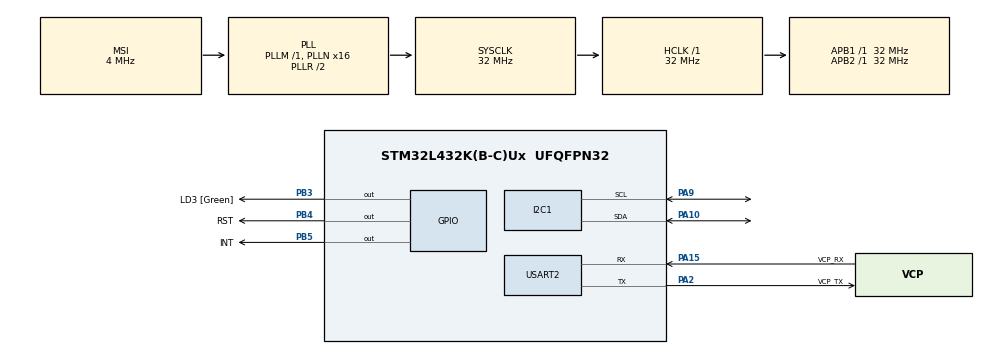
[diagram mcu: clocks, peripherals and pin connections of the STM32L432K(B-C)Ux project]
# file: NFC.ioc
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I2C1.Timing=0x00707CBB
Mcu.Family=STM32L4
Mcu.Name=STM32L432K(B-C)Ux
Mcu.Package=UFQFPN32
NVIC.PriorityGroup=NVIC_PRIORITYGROUP_4
PA0.GPIO_Label=MCO [High speed clock in]
PA0.Mode=HSE-External-Clock-Source-for-LittleOrca
PA0.Signal=RCC_CK_IN
PA10.Mode=I2C
PA10.Signal=I2C1_SDA
PA13\ (JTMS-SWDIO).GPIO_Label=SWDIO
PA13\ (JTMS-SWDIO).Mode=Serial_Wire
PA13\ (JTMS-SWDIO).Signal=SYS_JTMS-SWDIO
PA14\ (JTCK-SWCLK).GPIO_Label=SWCLK
PA14\ (JTCK-SWCLK).Mode=Serial_Wire
PA14\ (JTCK-SWCLK).Signal=SYS_JTCK-SWCLK
PA15\ (JTDI).GPIO_Label=VCP_RX
PA15\ (JTDI).Mode=Asynchronous
PA15\ (JTDI).Signal=USART2_RX
PA2.GPIO_Label=VCP_TX
PA2.Mode=Asynchronous
PA2.Signal=USART2_TX
PA9.Mode=I2C
PA9.Signal=I2C1_SCL
PB3\ (JTDO-TRACESWO).GPIO_Label=LD3 [Green]
PB3\ (JTDO-TRACESWO).Signal=GPIO_Output
PB4\ (NJTRST).GPIO_Label=RST
PB4\ (NJTRST).Signal=GPIO_Output
PB5.GPIO_Label=INT
PB5.Signal=GPIO_Output
PC14-OSC32_IN\ (PC14).Mode=LSE-External-Oscillator
PC14-OSC32_IN\ (PC14).Signal=RCC_OSC32_IN
PC15-OSC32_OUT\ (PC15).Mode=LSE-External-Oscillator
PC15-OSC32_OUT\ (PC15).Signal=RCC_OSC32_OUT
ProjectManager.HeapSize=0x200
ProjectManager.StackSize=0x400
ProjectManager.TargetToolchain=STM32CubeIDE
RCC.AHBFreq_Value=32000000
RCC.APB1Freq_Value=32000000
RCC.APB1TimFreq_Value=32000000
RCC.APB2Freq_Value=32000000
RCC.APB2TimFreq_Value=32000000
RCC.CortexFreq_Value=32000000
RCC.HCLKFreq_Value=32000000
RCC.HSE_VALUE=8000000
RCC.HSI16_VALUE=16000000
RCC.HSI48_VALUE=48000000
RCC.HSI_VALUE=16000000
RCC.MSI_VALUE=4000000
RCC.PLLMUL=RCC_PLLMUL_4
RCC.PLLN=16
RCC.SYSCLKFreq_VALUE=32000000
RCC.SYSCLKSource=RCC_SYSCLKSOURCE_PLLCLK
RCC.VCOOutputFreq_Value=64000000
USART2.VirtualMode-Asynchronous=VM_ASYNC
board=NUCLEO-L432KC

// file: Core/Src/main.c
/* USER CODE BEGIN Header */
/**
  ******************************************************************************
  * @file           : main.c
  * @brief          : Main program body
  ******************************************************************************
  * @attention
  *
  * Copyright (c) 2023 STMicroelectronics.
  * All rights reserved.
  *
  * This software is licensed under terms that can be found in the LICENSE file
  * in the root directory of this software component.
  * If no LICENSE file comes with this software, it is provided AS-IS.
  *
  ******************************************************************************
  */
/* USER CODE END Header */
#include "main.h"

I2C_HandleTypeDef hi2c1;

UART_HandleTypeDef huart2;

void SystemClock_Config(void);
static void MX_GPIO_Init(void);
static void MX_USART2_UART_Init(void);
static void MX_I2C1_Init(void);

int main(void)
{

  /* MCU Configuration--------------------------------------------------------*/

  /* Reset of all peripherals, Initializes the Flash interface and the Systick. */
HAL_Init();

  /* Configure the system clock */
  SystemClock_Config();

  /* Initialize all configured peripherals */
  MX_GPIO_Init();
  MX_USART2_UART_Init();
  MX_I2C1_Init();

  /* Infinite loop */
  /* USER CODE BEGIN WHILE */
  while (1)
  {
    uint8_t dataBuffer[32];  // Buffer to store the received data
    /* USER CODE BEGIN 3 */
    HAL_GPIO_TogglePin(GPIOB,GPIO_PIN_4);
    HAL_Delay(5);
    HAL_GPIO_TogglePin(GPIOB,GPIO_PIN_5);

    if(HAL_I2C_IsDeviceReady(&hi2c1, (0x28<<1), 2, 100) == HAL_OK)
    {
        HAL_GPIO_WritePin( GPIOB, GPIO_PIN_3,  GPIO_PIN_SET);
        // Read data from NFC Click via I2C
        if (HAL_I2C_Master_Receive(&hi2c1, (0x28<<1), dataBuffer, sizeof(dataBuffer), HAL_MAX_DELAY) == HAL_OK)
        {

          // Print the received data to the serial monitor
          for (int i = 0; i < sizeof(dataBuffer); i++)
          {
            char uartBuffer[8];  // Buffer to store the converted data

            // Convert the data to ASCII and print it
            sprintf(uartBuffer, "%02X ", dataBuffer[i]);
            HAL_UART_Transmit(&huart2, (uint8_t*)uartBuffer, strlen(uartBuffer), HAL_MAX_DELAY);
          }
          HAL_UART_Transmit(&huart2, (uint8_t*)"\r\n", 2, HAL_MAX_DELAY);  // Print a new line
        }else{
          HAL_GPIO_WritePin( GPIOB, GPIO_PIN_3,  GPIO_PIN_RESET);
          char uartBuffer[8];
          sprintf(uartBuffer, "%02X ", 0);
          HAL_UART_Transmit(&huart2, (uint8_t*)uartBuffer, strlen(uartBuffer), HAL_MAX_DELAY);
          HAL_UART_Transmit(&huart2, (uint8_t*)"\r\n", 2, HAL_MAX_DELAY);  // Print a new line
        }

        HAL_Delay(1000);  // Delay for 1 second between readings
    /* USER CODE END WHILE */
    }
  }
}

void SystemClock_Config(void)
{
  RCC_OscInitTypeDef RCC_OscInitStruct = {0};
  RCC_ClkInitTypeDef RCC_ClkInitStruct = {0};

  /** Configure the main internal regulator output voltage
  */
  if (HAL_PWREx_ControlVoltageScaling(PWR_REGULATOR_VOLTAGE_SCALE1) != HAL_OK)
  {
    Error_Handler();
  }

  /** Configure LSE Drive Capability
  */
  HAL_PWR_EnableBkUpAccess();
  __HAL_RCC_LSEDRIVE_CONFIG(RCC_LSEDRIVE_LOW);

  /** Initializes the RCC Oscillators according to the specified parameters
  * in the RCC_OscInitTypeDef structure.
  */
  RCC_OscInitStruct.OscillatorType = RCC_OSCILLATORTYPE_LSE|RCC_OSCILLATORTYPE_MSI;
  RCC_OscInitStruct.LSEState = RCC_LSE_ON;
  RCC_OscInitStruct.MSIState = RCC_MSI_ON;
  RCC_OscInitStruct.MSICalibrationValue = 0;
  RCC_OscInitStruct.MSIClockRange = RCC_MSIRANGE_6;
  RCC_OscInitStruct.PLL.PLLState = RCC_PLL_ON;
  RCC_OscInitStruct.PLL.PLLSource = RCC_PLLSOURCE_MSI;
  RCC_OscInitStruct.PLL.PLLM = 1;
  RCC_OscInitStruct.PLL.PLLN = 16;
  RCC_OscInitStruct.PLL.PLLP = RCC_PLLP_DIV7;
  RCC_OscInitStruct.PLL.PLLQ = RCC_PLLQ_DIV2;
  RCC_OscInitStruct.PLL.PLLR = RCC_PLLR_DIV2;
  if (HAL_RCC_OscConfig(&RCC_OscInitStruct) != HAL_OK)
  {
    Error_Handler();
  }

  /** Initializes the CPU, AHB and APB buses clocks
  */
  RCC_ClkInitStruct.ClockType = RCC_CLOCKTYPE_HCLK|RCC_CLOCKTYPE_SYSCLK
                              |RCC_CLOCKTYPE_PCLK1|RCC_CLOCKTYPE_PCLK2;
  RCC_ClkInitStruct.SYSCLKSource = RCC_SYSCLKSOURCE_PLLCLK;
  RCC_ClkInitStruct.AHBCLKDivider = RCC_SYSCLK_DIV1;
  RCC_ClkInitStruct.APB1CLKDivider = RCC_HCLK_DIV1;
  RCC_ClkInitStruct.APB2CLKDivider = RCC_HCLK_DIV1;

  if (HAL_RCC_ClockConfig(&RCC_ClkInitStruct, FLASH_LATENCY_1) != HAL_OK)
  {
    Error_Handler();
  }

  /** Enable MSI Auto calibration
  */
  HAL_RCCEx_EnableMSIPLLMode();
}

static void MX_I2C1_Init(void)
{

  hi2c1.Instance = I2C1;
  hi2c1.Init.Timing = 0x00707CBB;
  hi2c1.Init.OwnAddress1 = 0;
  hi2c1.Init.AddressingMode = I2C_ADDRESSINGMODE_7BIT;
  hi2c1.Init.DualAddressMode = I2C_DUALADDRESS_DISABLE;
  hi2c1.Init.OwnAddress2 = 0;
  hi2c1.Init.OwnAddress2Masks = I2C_OA2_NOMASK;
  hi2c1.Init.GeneralCallMode = I2C_GENERALCALL_DISABLE;
  hi2c1.Init.NoStretchMode = I2C_NOSTRETCH_DISABLE;
  if (HAL_I2C_Init(&hi2c1) != HAL_OK)
  {
    Error_Handler();
  }

  /** Configure Analogue filter
  */
  if (HAL_I2CEx_ConfigAnalogFilter(&hi2c1, I2C_ANALOGFILTER_ENABLE) != HAL_OK)
  {
    Error_Handler();
  }

  /** Configure Digital filter
  */
  if (HAL_I2CEx_ConfigDigitalFilter(&hi2c1, 0) != HAL_OK)
  {
    Error_Handler();
  }

}

static void MX_USART2_UART_Init(void)
{

  huart2.Instance = USART2;
  huart2.Init.BaudRate = 115200;
  huart2.Init.WordLength = UART_WORDLENGTH_8B;
  huart2.Init.StopBits = UART_STOPBITS_1;
  huart2.Init.Parity = UART_PARITY_NONE;
  huart2.Init.Mode = UART_MODE_TX_RX;
  huart2.Init.HwFlowCtl = UART_HWCONTROL_NONE;
  huart2.Init.OverSampling = UART_OVERSAMPLING_16;
  huart2.Init.OneBitSampling = UART_ONE_BIT_SAMPLE_DISABLE;
  huart2.AdvancedInit.AdvFeatureInit = UART_ADVFEATURE_NO_INIT;
  if (HAL_UART_Init(&huart2) != HAL_OK)
  {
    Error_Handler();
  }

}

static void MX_GPIO_Init(void)
{
  GPIO_InitTypeDef GPIO_InitStruct = {0};

  /* GPIO Ports Clock Enable */
  __HAL_RCC_GPIOC_CLK_ENABLE();
  __HAL_RCC_GPIOA_CLK_ENABLE();
  __HAL_RCC_GPIOB_CLK_ENABLE();

  /*Configure GPIO pin Output Level */
  HAL_GPIO_WritePin(GPIOB, LD3_Pin|RST_Pin|INT_Pin, GPIO_PIN_RESET);

  /*Configure GPIO pins : LD3_Pin RST_Pin INT_Pin */
  GPIO_InitStruct.Pin = LD3_Pin|RST_Pin|INT_Pin;
  GPIO_InitStruct.Mode = GPIO_MODE_OUTPUT_PP;
  GPIO_InitStruct.Pull = GPIO_NOPULL;
  GPIO_InitStruct.Speed = GPIO_SPEED_FREQ_LOW;
  HAL_GPIO_Init(GPIOB, &GPIO_InitStruct);

}

void Error_Handler(void)
{
  __disable_irq();
  while (1)
  {
  }
}
